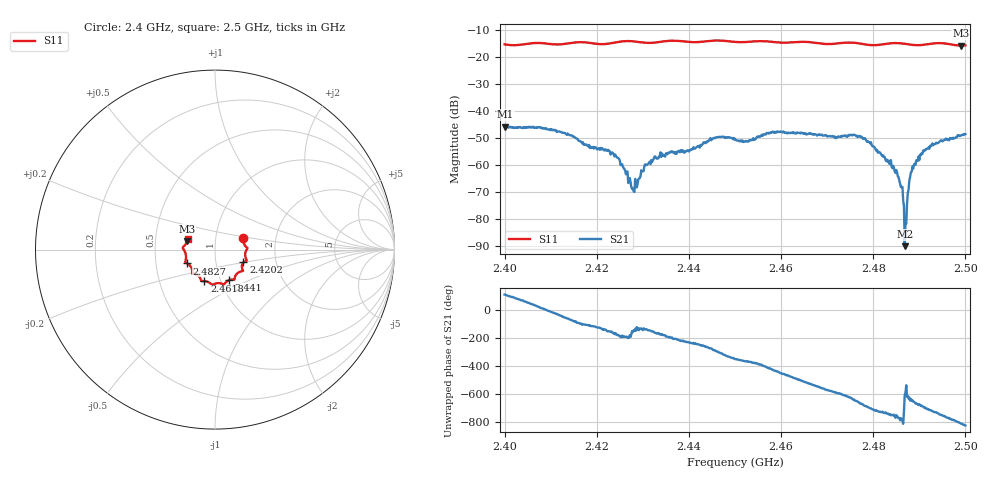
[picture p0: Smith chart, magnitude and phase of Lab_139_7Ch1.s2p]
# Hz S RI R 50
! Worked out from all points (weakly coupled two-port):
!   601 points, 2.4 GHz to 2.5 GHz, reference 50 ohm
!   highest |S21| = -45.72 dB at 2.4002 GHz (marker M1); lowest = -89.9 dB at 2.4868 GHz (marker M2)
!   lowest |S11| = -15.8 dB at 2.499 GHz (marker M3), VSWR 1.39, Z = 36.4 + j3.46 ohm
!   |S11| at or under -10 dB: start of sweep to end of sweep
!   S12 and S22 are empty: the file has one direction only
!   S11 on the Smith chart (normalised r, x): 2.4 GHz: 1.36, +0.18; 2.4202 GHz: 1.36, -0.20; 2.441 GHz: 1.10, -0.39; 2.4618 GHz: 0.84, -0.30; 2.4827 GHz: 0.72, -0.12; 2.5 GHz: 0.73, +0.09
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2.4e9  0.1585 0.063  -0.00199 0.0047  0 0  0 0
2.400167e9  0.1583 0.0616  -0.00196 0.00479  0 0  0 0
2.410667e9  0.1702 -0.0131  0.00428 -0.00139  0 0  0 0
2.416667e9  0.1771 -0.0608  -0.000257 -0.00267  0 0  0 0
2.420167e9  0.1586 -0.0712  -0.00106 -0.00165  0 0  0 0
2.4245e9  0.1528 -0.1105  -0.00137 -4.1e-05  0 0  0 0
2.428e9  0.1521 -0.1199  -0.000269 -0.000193  0 0  0 0
2.433333e9  0.1113 -0.1508  -0.00128 -0.000375  0 0  0 0
2.441e9  0.0788 -0.1697  -0.00125 0.00175  0 0  0 0
2.45e9  0.0284 -0.1874  0.00291 0.000523  0 0  0 0
2.461833e9  -0.0591 -0.1753  -0.00149 -0.00364  0 0  0 0
2.466667e9  -0.0787 -0.1685  -0.00375 -0.000453  0 0  0 0
2.477e9  -0.1269 -0.124  0.00187 0.00286  0 0  0 0
2.482667e9  -0.1559 -0.0774  0.00122 -0.000257  0 0  0 0
2.483333e9  -0.16 -0.0754  0.00109 -0.000541  0 0  0 0
2.4855e9  -0.1658 -0.0695  0.000368 -0.000471  0 0  0 0
2.486833e9  -0.1639 -0.0612  -1.21e-05 2.95e-05  0 0  0 0
2.487333e9  -0.1629 -0.0568  -3.64e-05 0.00019  0 0  0 0
2.488333e9  -0.1614 -0.0456  0.000233 0.000717  0 0  0 0
2.490667e9  -0.1661 -0.0154  0.0014 0.000816  0 0  0 0
2.499e9  -0.1555 0.0463  -0.000128 -0.00352  0 0  0 0
2.5e9  -0.1522 0.0606  -0.00105 -0.0036  0 0  0 0
